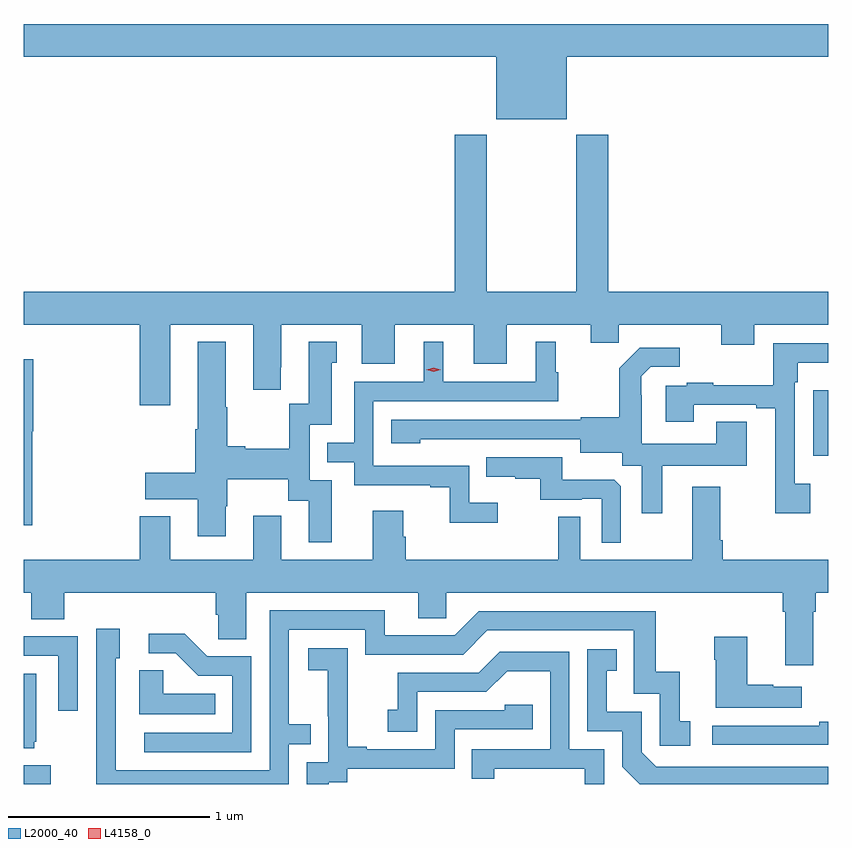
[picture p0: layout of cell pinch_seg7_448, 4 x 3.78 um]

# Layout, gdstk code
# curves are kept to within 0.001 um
import gdstk
lib = gdstk.Library(unit=1e-6, precision=1e-09)
def R(c, l, rs):  # rectangles x0, y0, x1, y1
    for r in rs: c.add(gdstk.rectangle(r[:2], r[2:], *l))
def P(c, l, *ps):  # polygons
    for p in ps: c.add(gdstk.Polygon(p, *l))
L2000_40 = (2000, 40)
L4158_0 = (4158, 0)

pinch_seg7_448 = lib.new_cell('pinch_seg7_448')
R(pinch_seg7_448, L2000_40, [(242.711,1039.624,242.845,1039.717), (246.636,1041.257,246.711,1041.583)])
P(pinch_seg7_448, L2000_40, [(245.41,1043.24),(246.711,1043.24),(246.711,1043.404),(242.711,1043.404),(242.711,1043.24),(245.06,1043.24),(245.06,1042.931),(245.41,1042.931)],
  [(245.458,1042.072),(245.013,1042.072),(245.013,1042.852),(244.853,1042.852),(244.853,1042.072),(242.711,1042.072),(242.711,1041.908),(243.287,1041.908),(243.287,1041.507),(243.439,1041.507),(243.439,1041.908),(243.851,1041.908),(243.851,1041.585),(243.988,1041.585),(243.988,1041.697),(243.991,1041.697),(243.991,1041.908),(244.391,1041.908),(244.391,1041.714),(244.555,1041.714),(244.555,1041.908),(244.949,1041.908),(244.949,1041.714),(245.113,1041.714),(245.113,1041.908),(245.531,1041.908),(245.531,1041.818),(245.669,1041.818),(245.669,1041.908),(246.179,1041.908),(246.179,1041.809),(246.343,1041.809),(246.343,1041.908),(246.711,1041.908),(246.711,1042.072),(245.618,1042.072),(245.618,1042.852),(245.458,1042.852)],
  [(245.068,1041.022),(244.926,1041.022),(244.926,1041.207),(244.449,1041.207),(244.449,1041.528),(245.368,1041.528),(245.368,1041.672),(245.356,1041.672),(245.356,1041.823),(245.258,1041.823),(245.258,1041.624),(244.798,1041.624),(244.798,1041.823),(244.7,1041.823),(244.7,1041.624),(244.353,1041.624),(244.353,1041.321),(244.219,1041.321),(244.219,1041.225),(244.353,1041.225),(244.353,1041.111),(244.733,1041.111),(244.733,1041.099),(244.828,1041.099),(244.828,1040.924),(245.068,1040.924)],
  [(244.243,1041.135),(244.134,1041.135),(244.134,1041.411),(244.243,1041.411),(244.243,1041.72),(244.267,1041.72),(244.267,1041.823),(244.127,1041.823),(244.127,1041.516),(244.031,1041.516),(244.031,1041.292),(243.811,1041.292),(243.811,1041.305),(243.723,1041.305),(243.723,1041.497),(243.715,1041.497),(243.715,1041.823),(243.575,1041.823),(243.575,1041.388),(243.563,1041.388),(243.563,1041.171),(243.315,1041.171),(243.315,1041.041),(243.575,1041.041),(243.575,1040.856),(243.715,1040.856),(243.715,1041.006),(243.723,1041.006),(243.723,1041.14),(244.026,1041.14),(244.026,1041.034),(244.127,1041.034),(244.127,1040.826),(244.243,1040.826)],
  [(246.622,1041.118),(246.546,1041.118),(246.546,1041.623),(246.559,1041.623),(246.559,1041.719),(246.711,1041.719),(246.711,1041.816),(246.438,1041.816),(246.438,1041.608),(246.139,1041.608),(246.139,1041.619),(246.007,1041.619),(246.007,1041.606),(245.903,1041.606),(245.903,1041.426),(246.043,1041.426),(246.043,1041.51),(246.353,1041.51),(246.353,1041.492),(246.449,1041.492),(246.449,1040.97),(246.622,1040.97)],
  [(245.887,1041.206),(246.307,1041.206),(246.307,1041.425),(246.155,1041.425),(246.155,1041.316),(245.784,1041.316),(245.784,1041.557),(245.782,1041.557),(245.782,1041.652),(245.829,1041.699),(245.974,1041.699),(245.974,1041.793),(245.773,1041.793),(245.673,1041.693),(245.673,1041.448),(245.481,1041.448),(245.481,1041.435),(244.539,1041.435),(244.539,1041.32),(244.683,1041.32),(244.683,1041.338),(245.477,1041.339),(245.477,1041.272),(245.688,1041.272),(245.688,1041.208),(245.783,1041.208),(245.783,1040.97),(245.887,1040.97)],
  [(242.753,1041.378),(242.758,1041.378),(242.758,1041.736),(242.711,1041.736),(242.711,1040.91),(242.753,1040.91)],
  [(245.679,1041.105),(245.647,1041.137),(245.389,1041.137),(245.389,1041.249),(245.011,1041.249),(245.011,1041.152),(245.155,1041.152),(245.155,1041.141),(245.279,1041.141),(245.279,1041.039),(245.486,1041.039),(245.486,1041.042),(245.586,1041.042),(245.586,1040.825),(245.679,1040.825)],
  [(242.711,1040.576),(242.747,1040.576),(242.747,1040.443),(242.912,1040.443),(242.912,1040.576),(243.665,1040.576),(243.665,1040.467),(243.678,1040.467),(243.678,1040.344),(243.817,1040.344),(243.817,1040.576),(244.673,1040.576),(244.673,1040.449),(244.812,1040.449),(244.812,1040.576),(246.485,1040.576),(246.485,1040.48),(246.497,1040.48),(246.497,1040.214),(246.637,1040.214),(246.637,1040.48),(246.65,1040.48),(246.65,1040.576),(246.711,1040.576),(246.711,1040.74),(246.188,1040.74),(246.188,1040.836),(246.175,1040.836),(246.175,1041.103),(246.035,1041.103),(246.035,1040.74),(245.478,1040.74),(245.478,1040.954),(245.37,1040.954),(245.37,1040.74),(244.61,1040.74),(244.61,1040.853),(244.597,1040.853),(244.597,1040.983),(244.445,1040.983),(244.445,1040.74),(243.991,1040.74),(243.991,1040.959),(243.851,1040.959),(243.851,1040.74),(243.439,1040.74),(243.439,1040.956),(243.287,1040.956),(243.287,1040.74),(242.711,1040.74)],
  [(244.029,1039.821),(244.139,1039.821),(244.139,1039.922),(244.029,1039.922),(244.029,1040.391),(244.41,1040.391),(244.41,1040.268),(244.896,1040.268),(245.016,1040.388),(245.745,1040.388),(245.745,1040.073),(245.874,1040.073),(245.874,1039.815),(246.025,1039.815),(246.025,1039.935),(245.972,1039.935),(245.972,1040.182),(245.854,1040.182),(245.854,1040.484),(244.974,1040.484),(244.854,1040.364),(244.507,1040.364),(244.507,1040.487),(243.933,1040.487),(243.933,1039.692),(243.168,1039.692),(243.168,1040.25),(243.187,1040.25),(243.187,1040.395),(243.072,1040.395),(243.072,1039.901),(243.07,1039.901),(243.07,1039.624),(244.029,1039.624)],
  [(243.843,1040.259),(243.624,1040.259),(243.511,1040.372),(243.333,1040.372),(243.333,1040.274),(243.467,1040.274),(243.578,1040.163),(243.747,1040.163),(243.747,1039.878),(243.309,1039.878),(243.309,1039.782),(243.843,1039.782)],
  [(242.979,1040.358),(242.711,1040.358),(242.711,1040.262),(242.883,1040.262),(242.883,1039.989),(242.979,1039.989)],
  [(246.58,1040.107),(246.437,1040.107),(246.437,1040.117),(246.31,1040.117),(246.31,1040.356),(246.145,1040.356),(246.145,1040.243),(246.152,1040.243),(246.152,1040.003),(246.58,1040.003)],
  [(244.228,1039.632),(244.32,1039.632),(244.32,1039.701),(244.854,1039.701),(244.854,1039.896),(245.243,1039.896),(245.243,1040.019),(245.103,1040.019),(245.103,1039.992),(244.758,1039.992),(244.758,1039.797),(244.417,1039.797),(244.417,1039.81),(244.322,1039.81),(244.322,1040.093),(244.323,1040.093),(244.323,1040.299),(244.125,1040.299),(244.125,1040.189),(244.223,1040.189),(244.223,1039.961),(244.224,1039.961),(244.224,1039.731),(244.119,1039.731),(244.119,1039.624),(244.228,1039.624)],
  [(246.711,1039.71),(245.856,1039.71),(245.784,1039.782),(245.784,1039.983),(245.611,1039.983),(245.611,1040.187),(245.66,1040.187),(245.66,1040.293),(245.514,1040.293),(245.514,1039.887),(245.688,1039.887),(245.688,1039.71),(245.775,1039.624),(246.711,1039.624)],
  [(245.598,1039.797),(245.424,1039.797),(245.424,1040.283),(245.078,1040.283),(244.973,1040.178),(244.57,1040.178),(244.57,1039.993),(244.521,1039.993),(244.521,1039.884),(244.668,1039.884),(244.668,1040.082),(245.01,1040.082),(245.114,1040.186),(245.328,1040.186),(245.328,1039.797),(244.939,1039.797),(244.939,1039.65),(245.05,1039.65),(245.05,1039.701),(245.501,1039.701),(245.501,1039.624),(245.598,1039.624)],
  [(243.662,1040.074),(243.405,1040.074),(243.405,1040.189),(243.284,1040.189),(243.284,1039.97),(243.662,1039.97)],
  [(242.762,1039.833),(242.773,1039.833),(242.773,1040.173),(242.711,1040.173),(242.711,1039.802),(242.762,1039.802)],
  [(246.711,1039.934),(246.667,1039.934),(246.667,1039.914),(246.135,1039.914),(246.135,1039.818),(246.711,1039.818)])
P(pinch_seg7_448, L4158_0, [(244.749,1041.675),(244.713,1041.684),(244.713,1041.685),(244.713,1041.685),(244.749,1041.695),(244.785,1041.685),(244.785,1041.685),(244.785,1041.684)])

lib.write_gds('pinch_seg7_448.gds')
